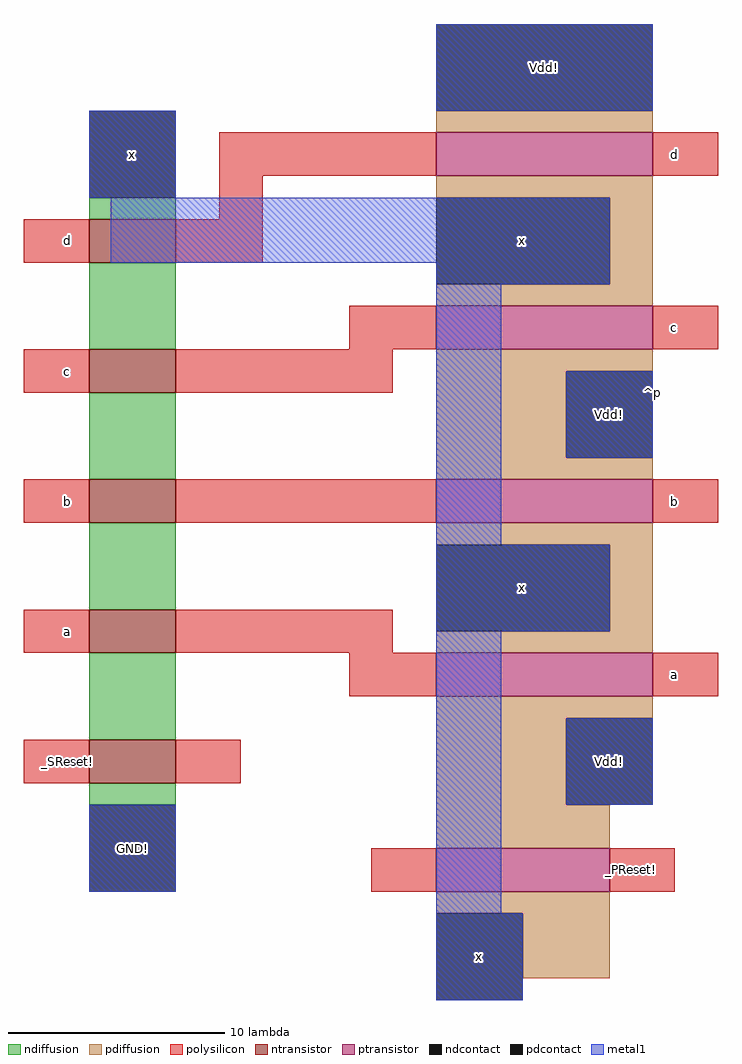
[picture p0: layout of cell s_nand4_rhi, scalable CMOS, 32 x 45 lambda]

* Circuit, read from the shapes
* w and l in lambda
.subckt s_nand4_rhi GND! Vdd! _PReset! _SReset! a b c d x
M1 n1 _SReset! GND! VSUBS nfet w=4 l=2
M2 n2 a n1 VSUBS nfet w=4 l=2
M3 n3 b n2 VSUBS nfet w=4 l=2
M4 n4 c n3 VSUBS nfet w=4 l=2
M5 x d n4 VSUBS nfet w=4 l=2
M6 Vdd! _PReset! x NWELL pfet w=8 l=2
M7 x a Vdd! NWELL pfet w=10 l=2
M8 Vdd! b x NWELL pfet w=10 l=2
M9 x c Vdd! NWELL pfet w=10 l=2
M10 Vdd! d x NWELL pfet w=10 l=2
.ends

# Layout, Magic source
magic
tech scmos
<< ndiffusion >>
rect 14 66 18 67
rect 14 60 18 64
rect 14 54 18 58
rect 14 48 18 52
rect 14 42 18 46
rect 14 39 18 40
<< pdiffusion >>
rect 30 70 40 71
rect 30 67 40 68
rect 38 63 40 67
rect 30 62 40 63
rect 30 59 40 60
rect 30 55 36 59
rect 30 54 40 55
rect 30 51 40 52
rect 38 47 40 51
rect 30 46 40 47
rect 30 43 40 44
rect 30 39 36 43
rect 30 37 38 39
rect 30 34 38 35
rect 34 31 38 34
<< ntransistor >>
rect 14 64 18 66
rect 14 58 18 60
rect 14 52 18 54
rect 14 46 18 48
rect 14 40 18 42
<< ptransistor >>
rect 30 68 40 70
rect 30 60 40 62
rect 30 52 40 54
rect 30 44 40 46
rect 30 35 38 37
<< polysilicon >>
rect 20 68 30 70
rect 40 68 43 70
rect 20 66 22 68
rect 11 64 14 66
rect 18 64 22 66
rect 26 60 30 62
rect 40 60 43 62
rect 11 58 14 60
rect 18 58 28 60
rect 11 52 14 54
rect 18 52 30 54
rect 40 52 43 54
rect 11 46 14 48
rect 18 46 28 48
rect 26 44 30 46
rect 40 44 43 46
rect 11 40 14 42
rect 18 40 21 42
rect 27 35 30 37
rect 38 35 41 37
<< ndcontact >>
rect 14 67 18 71
rect 14 35 18 39
<< pdcontact >>
rect 30 71 40 75
rect 30 63 38 67
rect 36 55 40 59
rect 30 47 38 51
rect 36 39 40 43
rect 30 30 34 34
<< metal1 >>
rect 30 71 40 75
rect 14 67 18 71
rect 15 64 38 67
rect 30 63 38 64
rect 30 51 33 63
rect 36 55 40 59
rect 30 47 38 51
rect 14 35 18 39
rect 30 34 33 47
rect 36 39 40 43
rect 30 30 34 34
<< labels >>
rlabel polysilicon 13 47 13 47 3 a
rlabel polysilicon 13 53 13 53 3 b
rlabel polysilicon 13 59 13 59 3 c
rlabel polysilicon 13 65 13 65 3 d
rlabel polysilicon 41 53 41 53 3 b
rlabel polysilicon 41 45 41 45 3 a
rlabel polysilicon 41 69 41 69 3 d
rlabel polysilicon 41 61 41 61 3 c
rlabel polysilicon 13 41 13 41 1 _SReset!
rlabel space 37 40 43 76 3 ^p
rlabel space 11 35 14 71 7 ^n
rlabel polysilicon 39 36 39 36 1 _PReset!
rlabel ndcontact 16 69 16 69 4 x
rlabel pdcontact 38 57 38 57 5 Vdd!
rlabel pdcontact 35 73 35 73 5 Vdd!
rlabel pdcontact 34 49 34 49 1 x
rlabel pdcontact 34 65 34 65 1 x
rlabel ndcontact 16 37 16 37 5 GND!
rlabel pdcontact 38 41 38 41 1 Vdd!
rlabel pdcontact 32 32 32 32 1 x
<< end >>
